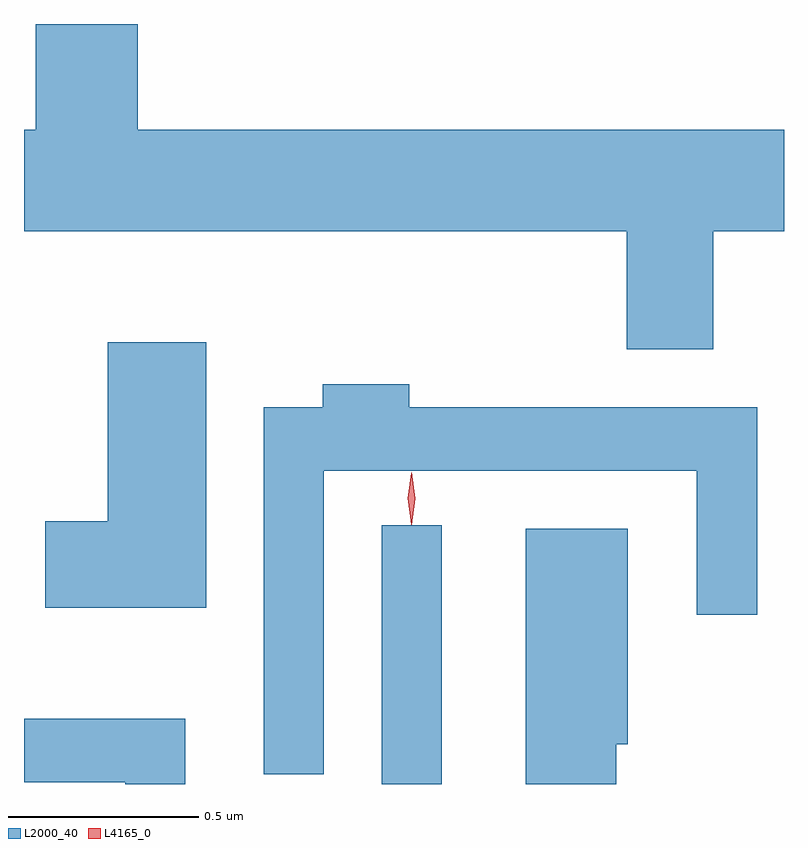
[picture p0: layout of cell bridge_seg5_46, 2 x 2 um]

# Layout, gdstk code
import gdstk
lib = gdstk.Library(unit=1e-6, precision=1e-09)
def R(c, l, rs):  # rectangles x0, y0, x1, y1
    for r in rs: c.add(gdstk.rectangle(r[:2], r[2:], *l))
def P(c, l, *ps):  # polygons
    for p in ps: c.add(gdstk.Polygon(p, *l))
L2000_40 = (2000, 40)
L4165_0 = (4165, 0)

bridge_seg5_46 = lib.new_cell('bridge_seg5_46')
R(bridge_seg5_46, L2000_40, [(1334.866,1475.322,1335.024,1476.003)])
P(bridge_seg5_46, L2000_40, [(1335.739,1476.776),(1335.925,1476.776),(1335.925,1477.044),(1334.224,1477.044),(1334.224,1477.322),(1333.956,1477.322),(1333.956,1477.044),(1333.925,1477.044),(1333.925,1476.776),(1335.511,1476.776),(1335.511,1476.466),(1335.739,1476.466)],
  [(1334.404,1476.484),(1334.146,1476.484),(1334.146,1476.014),(1333.981,1476.014),(1333.981,1475.786),(1334.404,1475.786)],
  [(1334.714,1476.146),(1335.696,1476.146),(1335.696,1475.768),(1335.854,1475.768),(1335.854,1476.314),(1334.939,1476.314),(1334.939,1476.374),(1334.711,1476.374),(1334.711,1476.314),(1334.556,1476.314),(1334.556,1475.348),(1334.714,1475.348)],
  [(1335.484,1475.426),(1335.514,1475.426),(1335.514,1475.994),(1335.246,1475.994),(1335.246,1475.322),(1335.484,1475.322)],
  [(1334.349,1475.494),(1333.925,1475.494),(1333.925,1475.326),(1334.191,1475.326),(1334.191,1475.322),(1334.349,1475.322)])
P(bridge_seg5_46, L4165_0, [(1334.944,1476.004),(1334.936,1476.073),(1334.945,1476.142),(1334.946,1476.143),(1334.946,1476.142),(1334.955,1476.073),(1334.946,1476.004),(1334.945,1476.004)],
  [(1334.944,1476.007),(1334.935,1476.074),(1334.944,1476.14),(1334.945,1476.141),(1334.946,1476.14),(1334.955,1476.074),(1334.946,1476.007),(1334.945,1476.007)])

lib.write_gds('bridge_seg5_46.gds')
